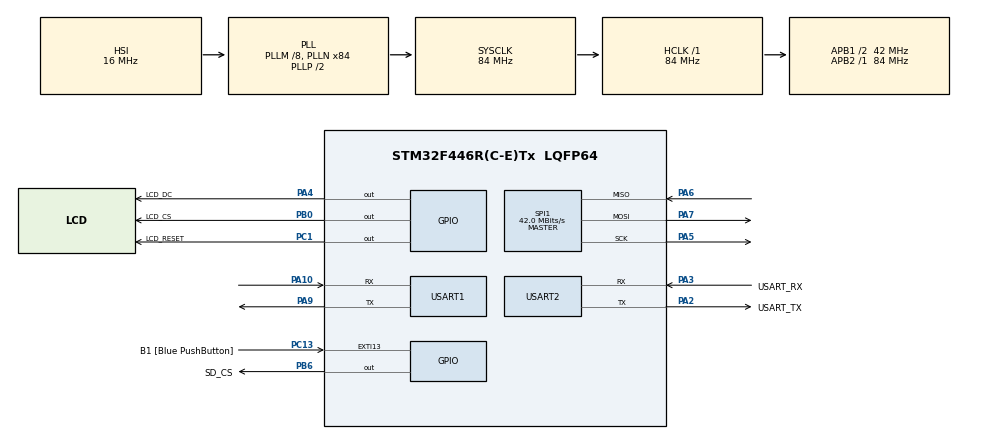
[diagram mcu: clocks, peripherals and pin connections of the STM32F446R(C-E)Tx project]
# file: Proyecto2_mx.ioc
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Mcu.Family=STM32F4
Mcu.Name=STM32F446R(C-E)Tx
Mcu.Package=LQFP64
NVIC.PriorityGroup=NVIC_PRIORITYGROUP_0
NVIC.TIM6_DAC_IRQn=true\:0\:0\:false\:false\:true\:true\:true\:true
NVIC.TIM7_IRQn=true\:0\:0\:false\:false\:true\:true\:true\:true
NVIC.USART1_IRQn=true\:0\:0\:false\:false\:true\:true\:true\:true
PA10.Mode=Asynchronous
PA10.Signal=USART1_RX
PA13.GPIO_Label=TMS
PA13.Mode=Serial_Wire
PA13.Signal=SYS_JTMS-SWDIO
PA14.GPIO_Label=TCK
PA14.Mode=Serial_Wire
PA14.Signal=SYS_JTCK-SWCLK
PA2.GPIO_Label=USART_TX
PA2.Mode=Asynchronous
PA2.Signal=USART2_TX
PA3.GPIO_Label=USART_RX
PA3.Mode=Asynchronous
PA3.Signal=USART2_RX
PA4.GPIO_Label=LCD_DC
PA4.GPIO_Speed=GPIO_SPEED_FREQ_MEDIUM
PA4.Signal=GPIO_Output
PA5.Mode=Full_Duplex_Master
PA5.Signal=SPI1_SCK
PA6.Mode=Full_Duplex_Master
PA6.Signal=SPI1_MISO
PA7.Mode=Full_Duplex_Master
PA7.Signal=SPI1_MOSI
PA9.Mode=Asynchronous
PA9.Signal=USART1_TX
PB0.GPIO_Label=LCD_CS
PB0.GPIO_Speed=GPIO_SPEED_FREQ_MEDIUM
PB0.Signal=GPIO_Output
PB6.GPIO_Label=SD_CS
PB6.GPIO_Speed=GPIO_SPEED_FREQ_MEDIUM
PB6.PinState=GPIO_PIN_SET
PB6.Signal=GPIO_Output
PC1.GPIO_Label=LCD_RESET
PC1.GPIO_Speed=GPIO_SPEED_FREQ_MEDIUM
PC1.Signal=GPIO_Output
PC13.GPIO_Label=B1 [Blue PushButton]
PC13.GPIO_ModeDefaultEXTI=GPIO_MODE_IT_FALLING
PC13.Signal=GPXTI13
PC14-OSC32_IN.Mode=LSE-External-Oscillator
PC14-OSC32_IN.Signal=RCC_OSC32_IN
PC15-OSC32_OUT.Mode=LSE-External-Oscillator
PC15-OSC32_OUT.Signal=RCC_OSC32_OUT
PH0-OSC_IN.Mode=HSE-External-Oscillator
PH0-OSC_IN.Signal=RCC_OSC_IN
PH1-OSC_OUT.Mode=HSE-External-Oscillator
PH1-OSC_OUT.Signal=RCC_OSC_OUT
ProjectManager.HeapSize=0x200
ProjectManager.StackSize=0x400
ProjectManager.TargetToolchain=STM32CubeIDE
RCC.48MHZClocksFreq_Value=84000000
RCC.AHBFreq_Value=84000000
RCC.APB1CLKDivider=RCC_HCLK_DIV2
RCC.APB1Freq_Value=42000000
RCC.APB1TimFreq_Value=84000000
RCC.APB2Freq_Value=84000000
RCC.APB2TimFreq_Value=84000000
RCC.CortexFreq_Value=84000000
RCC.FLatency-AdvancedSettings=FLASH_LATENCY_2
RCC.HCLKFreq_Value=84000000
RCC.HSE_VALUE=8000000
RCC.HSI_VALUE=16000000
RCC.PLLM=8
RCC.PLLN=84
RCC.SYSCLKFreq_VALUE=84000000
RCC.SYSCLKSource=RCC_SYSCLKSOURCE_PLLCLK
RCC.USBFreq_Value=84000000
RCC.VCOOutputFreq_Value=168000000
SPI1.BaudRatePrescaler=SPI_BAUDRATEPRESCALER_2
SPI1.CalculateBaudRate=42.0 MBits/s
SPI1.Direction=SPI_DIRECTION_2LINES
SPI1.Mode=SPI_MODE_MASTER
SPI1.VirtualType=VM_MASTER
TIM6.Period=6561-1
TIM6.Prescaler=16000-1
TIM7.Period=1640-1
TIM7.Prescaler=16000-1
USART1.VirtualMode=VM_ASYNC
USART2.VirtualMode=VM_ASYNC
VP_FATFS_VS_Generic.Mode=User_defined
VP_TIM6_VS_ClockSourceINT.Mode=Enable_Timer
VP_TIM7_VS_ClockSourceINT.Mode=Enable_Timer
board=NUCLEO-F446RE

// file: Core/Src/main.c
/* USER CODE BEGIN Header */
/**
  ******************************************************************************
  * @file           : main.c
  * @brief          : Main program body
  ******************************************************************************
  * @attention
  *
  * Copyright (c) 2026 STMicroelectronics.
  * All rights reserved.
  *
  * This software is licensed under terms that can be found in the LICENSE file
  * in the root directory of this software component.
  * If no LICENSE file comes with this software, it is provided AS-IS.
  *
  ******************************************************************************
  */
/* USER CODE END Header */
#include "main.h"
#include "fatfs.h"

/* USER CODE BEGIN Includes */
#include <stdio.h>
#include <string.h>

#include "ili9341.h"
#include "bitmaps.h"
#include "fatfs_sd.h"
/* USER CODE END Includes */

/* USER CODE BEGIN PD */
#define min_x 0			// Variables de pantalla
#define min_y 0
#define max_x 320
#define max_y 240

#define transparente 0xf81f // color de transparencia

#define MAX_BUFFER_SIZE 10080 // tamaño maximo de los buffers

FATFS fs;
FATFS *pfs;
FIL fil;
FRESULT fres;
DWORD free_clust;
uint32_t totalSpace, freeSpace;
char buffer[100];
/* USER CODE END PD */

SPI_HandleTypeDef hspi1;

TIM_HandleTypeDef htim6;
TIM_HandleTypeDef htim7;

UART_HandleTypeDef huart1;
UART_HandleTypeDef huart2;

/* USER CODE BEGIN PV */

static uint16_t buffer_p1[MAX_BUFFER_SIZE];  // buffers personajes
static uint16_t buffer_p2[MAX_BUFFER_SIZE];

static uint16_t erase_p1[MAX_BUFFER_SIZE];		// buffers objetos
static uint16_t erase_p2[MAX_BUFFER_SIZE];

//static uint16_t extra[MAX_BUFFER_SIZE];

static uint16_t buffer_dibujo_SD[10240]; // buffer para fondos

extern const uint16_t fondo[];

uint8_t continiun = 0;

volatile uint16_t pos_p1x = 0; // posisiones del jugador 1
volatile uint16_t pos_p1y = 0;
volatile uint16_t direc_p1 = 0;

volatile uint16_t pos_p2x = 0;  // posisiones jugador 2
volatile uint16_t pos_p2y = 0;
volatile uint16_t direc_p2 = 0;

uint8_t nano_rx; // buffer para leer y enviar datos por uart

volatile uint8_t menu_state = 0;
volatile uint8_t state = 0;  // 0 = Menu - 1 = jugando
volatile uint8_t current_game = 0;

volatile uint8_t p1_ch_select = 0;
volatile uint8_t p2_ch_select = 0;

uint8_t p1_ch = 0;
uint8_t p2_ch = 0;

volatile uint8_t draw_ok = 0;

volatile uint8_t p_press = 0;
volatile uint8_t p1_input;
volatile uint8_t rp_p1_chsel;

volatile uint8_t p2_input;
volatile uint8_t rp_p2_chsel;

uint8_t prev_input1 = 0;
uint8_t prev_input2 = 0;

volatile uint8_t game_select = 0;
volatile uint8_t rp_game_select = 0;
volatile uint8_t game_toplay = 0;

volatile uint8_t minijuego = 0;
volatile uint8_t prioridad = 0;

uint8_t segundos = 0;

uint8_t contador = 0;
uint8_t contador1_4 = 0;

char buffer_contador[10];
char buffer_contador1_4[10];

uint8_t p1_BAscore = 0;
uint8_t p2_BAscore = 0;

uint8_t pepino1 = 150;
uint8_t pepino2 = 150;

uint8_t movicanche = 1;

uint8_t p1_linea = 0;
uint8_t p2_linea = 0;

uint8_t juancarlos = 0;

/* USER CODE END PV */

void SystemClock_Config(void);
static void MX_GPIO_Init(void);
static void MX_USART2_UART_Init(void);
static void MX_SPI1_Init(void);
static void MX_USART1_UART_Init(void);
static void MX_TIM6_Init(void);
static void MX_TIM7_Init(void);

/* USER CODE BEGIN 0 */
void SPI_SetSpeed(uint32_t prescaler) {
    // 1. Apagar el SPI temporalmente
    __HAL_SPI_DISABLE(&hspi1);

    // 2. Limpiar los bits actuales de velocidad (BR[2:0])
    hspi1.Instance->CR1 &= ~(SPI_CR1_BR_Msk);

    // 3. Escribir el nuevo prescaler
    hspi1.Instance->CR1 |= prescaler;

    // 4. Volver a encender el SPI
    __HAL_SPI_ENABLE(&hspi1);
}

void transmit_uart(char *string) {
	uint8_t len = strlen(string);
	HAL_UART_Transmit(&huart2, (uint8_t*) string, len, 200);
}

void cargar_archivo(char* nombre_archivo, uint16_t* buffer_destino, uint32_t tamano_buffer) {
    UINT bytesRead;

    // 1. APAGAR EL TFT Y ENCENDER LA SD ANTES DE ABRIR EL ARCHIVO
	HAL_GPIO_WritePin(LCD_CS_GPIO_Port, LCD_CS_Pin, GPIO_PIN_SET);   // TFT OFF
	HAL_GPIO_WritePin(SD_CS_GPIO_Port, SD_CS_Pin, GPIO_PIN_RESET); // SD ON

    fres = f_open(&fil, nombre_archivo, FA_READ);

    if (fres != FR_OK) {
    	// Si falla, apagar la SD antes de salir
		HAL_GPIO_WritePin(SD_CS_GPIO_Port, SD_CS_Pin, GPIO_PIN_SET);
		transmit_uart("Error al abrir el archivo .bin\n");
		return;
    }

    // 3. LEER EL ARCHIVO DIRECTO AL BUFFER QUE TÚ ELIJAS
	// Aquí usamos los parámetros que le mandaste a la función
	fres = f_read(&fil, (uint8_t*)buffer_destino, tamano_buffer, &bytesRead);

	// 4. CERRAR ARCHIVO Y APAGAR SD
	f_close(&fil);
	HAL_GPIO_WritePin(SD_CS_GPIO_Port, SD_CS_Pin, GPIO_PIN_SET); // SD OFF

	// 5. VALIDACIÓN Y DIAGNÓSTICO
	if (fres != FR_OK || bytesRead == 0) {
		transmit_uart("Error al leer los datos o el archivo estaba vacio\n");
		return;
	}

    transmit_uart("Imagen cargada en el buffer con exito\n");
}

void dibujar_imagen_raw(char* nombre_archivo, uint16_t x, uint16_t y, uint16_t ancho, uint16_t alto) {
    UINT bytesRead;
    uint16_t buffer_pixel[10240];
    char msg[60];
    uint8_t first = 1;

    // TFT OFF antes de tocar SD
    HAL_GPIO_WritePin(LCD_CS_GPIO_Port, LCD_CS_Pin, GPIO_PIN_SET);
    HAL_GPIO_WritePin(SD_CS_GPIO_Port,  SD_CS_Pin,  GPIO_PIN_SET);

    // Abrir archivo
    fres = f_open(&fil, nombre_archivo, FA_READ);
    if (fres != FR_OK) {
        sprintf(msg, "Error f_open: %d\n", fres);
        transmit_uart(msg);
        return;
    }
    transmit_uart("Archivo abierto OK\n");

    while (1) {
        // Leer bloque de SD (TFT OFF mientras FatFS usa el bus)
        HAL_GPIO_WritePin(LCD_CS_GPIO_Port, LCD_CS_Pin, GPIO_PIN_SET);
        HAL_Delay(1); // <-- Dale un respiro al bus antes de activar la SD
        HAL_GPIO_WritePin(SD_CS_GPIO_Port, SD_CS_Pin, GPIO_PIN_RESET); // SD ON

        FRESULT r = f_read(&fil, buffer_dibujo_SD, sizeof(buffer_dibujo_SD), &bytesRead);
        HAL_GPIO_WritePin(SD_CS_GPIO_Port, SD_CS_Pin, GPIO_PIN_SET); // SD OFF
        HAL_Delay(1); // <-- Retardo antes de activar el LCD
        HAL_GPIO_WritePin(LCD_CS_GPIO_Port, LCD_CS_Pin, GPIO_PIN_RESET); // LCD ON
        if (r != FR_OK || bytesRead == 0) {
            sprintf(msg, "f_read fin: r=%d bytes=%u\n", r, (unsigned)bytesRead);
            transmit_uart(msg);
            break;
        }

        // Enviar bloque al TFT (SD OFF)
        HAL_GPIO_WritePin(SD_CS_GPIO_Port, SD_CS_Pin, GPIO_PIN_SET);
        HAL_GPIO_WritePin(LCD_CS_GPIO_Port, LCD_CS_Pin, GPIO_PIN_RESET); // TFT ON

        if (first) {
            // Primer chunk: configurar ventana
            // SetWindows termina con CS=HIGH, hay que volver a bajarlo
            SetWindows(x, y, x + ancho - 1, y + alto - 1);
            HAL_GPIO_WritePin(LCD_CS_GPIO_Port, LCD_CS_Pin, GPIO_PIN_RESET);
            first = 0;
        } else {
            // Chunks siguientes: Write Memory Continue
            HAL_GPIO_WritePin(LCD_DC_GPIO_Port, LCD_DC_Pin, GPIO_PIN_RESET); // DC = CMD
            uint8_t cmd = 0x3C;
            HAL_SPI_Transmit(&hspi1, &cmd, 1, HAL_MAX_DELAY);
        }

        // Enviar pixeles
        HAL_GPIO_WritePin(LCD_DC_GPIO_Port, LCD_DC_Pin, GPIO_PIN_SET); // DC = DATA
        HAL_SPI_Transmit(&hspi1, (uint8_t*)buffer_dibujo_SD, bytesRead, HAL_MAX_DELAY);

        // TFT OFF al terminar chunk
        HAL_GPIO_WritePin(LCD_CS_GPIO_Port, LCD_CS_Pin, GPIO_PIN_SET);
    }

    HAL_GPIO_WritePin(LCD_CS_GPIO_Port, LCD_CS_Pin, GPIO_PIN_SET);
    HAL_GPIO_WritePin(SD_CS_GPIO_Port,  SD_CS_Pin,  GPIO_PIN_SET);
    f_close(&fil);
    transmit_uart("Imagen cargada con exito\n");
}
/* USER CODE END 0 */

int main(void)
{

  /* MCU Configuration--------------------------------------------------------*/

  /* Reset of all peripherals, Initializes the Flash interface and the Systick. */
-	HAL_Init();

  /* Configure the system clock */
  SystemClock_Config();

  /* Initialize all configured peripherals */
  MX_GPIO_Init();
  MX_USART2_UART_Init();
  MX_SPI1_Init();
  MX_USART1_UART_Init();
  MX_FATFS_Init();
  MX_TIM6_Init();
  MX_TIM7_Init();
  /* USER CODE BEGIN 2 */
  HAL_TIM_Base_Start_IT(&htim6);
  HAL_TIM_Base_Start_IT(&htim7);
  HAL_UART_Receive_IT(&huart1,  &nano_rx, 1);

  	/*
  	FillRect(0, 0, 319, 239, 0xFFFF);
  	FillRect(50, 60, 20, 20, 0xF800);
  	FillRect(70, 60, 20, 20, 0x07E0);
  	FillRect(90, 60, 20, 20, 0x001F);

  	LCD_Bitmap(0, 0, 320, 240, fondo);
  //	FillRect(0, 0, 319, 206, 0x421b);
  //

  	LCD_Print("Hola Mundo", 20, 100, 2, 0x001F, 0xCAB9);

  	//LCD_Sprite(int x, int y, int width, int height, unsigned char bitmap[],int columns, int index, char flip, char offset);
  	//LCD_Sprite(60,100,32,32,pesaSprite,4,3,0,1);

  	//LCD_Bitmap(unsigned int x, unsigned int y, unsigned int width, unsigned int height, unsigned char bitmap[]);
  	//LCD_Bitmap(0, 0, 320, 240, fondo);

  	for (int x = 0; x < 319; x++) {
  		LCD_Bitmap(x, 116, 15, 15, tile);
  		LCD_Bitmap(x, 68, 15, 15, tile);
  		LCD_Bitmap(x, 207, 15, 15, tile);
  		LCD_Bitmap(x, 223, 15, 15, tile);
  		x += 15;
  	}
	*/
  	//LCD_Bitmap(100, 100, 28, 31, yosh);

 ////////////////////////////////////////////////////
  	// SD STUFF/////
  	// 1. Desactivar
  	  HAL_GPIO_WritePin(LCD_CS_GPIO_Port, LCD_CS_Pin, GPIO_PIN_SET);
  	  HAL_GPIO_WritePin(SD_CS_GPIO_Port, SD_CS_Pin, GPIO_PIN_SET);

  	  // 2. Reset display
  	  HAL_GPIO_WritePin(LCD_CS_GPIO_Port, LCD_CS_Pin, GPIO_PIN_RESET);
  	  HAL_GPIO_WritePin(SD_CS_GPIO_Port, SD_CS_Pin, GPIO_PIN_SET);

  	  LCD_Init();
  	  LCD_Clear(0x00); // NEGRO

  	  // 5. Apagar TFT antes de usar SD
  	  HAL_GPIO_WritePin(LCD_CS_GPIO_Port, LCD_CS_Pin, GPIO_PIN_SET);
  	  HAL_GPIO_WritePin(SD_CS_GPIO_Port, SD_CS_Pin, GPIO_PIN_RESET);

  	  // 6. SD
  	  // 6. SD
	  fres = f_mount(&fs, "", 0);
	  if (fres == FR_OK) {
		  transmit_uart("SD montada y lista\n");

	  } else {
		  transmit_uart("Error SD\n");
	  }

  	HAL_Delay(100);

  	///////////////////////////////
  	// LCD stuff
  	SPI_SetSpeed(SPI_BAUDRATEPRESCALER_2);
  	transmit_uart("SPI configurado a Alta Velocidad\n");

	LCD_Clear(0x00);

  	/*FillRect(0, 0, max_x, max_y, 0xf81f);
  	FillRect(0, 0, max_x, max_y, 0x0000);

//  	LCD_Print("Hola Mundo", 20, 100, 2, 0x001F, 0xCAB9);

	LCD_Print("Mario", 20, 50, 2, 0xFFFF, 0x0000);
	LCD_Print("Party", 20, 100, 2, 0xFFFF, 0x0000);
	//LCD_Print(text, x, y, fontSize, color, background);

	LCD_Print("PRESIONA A PARA INICIAR", 20, 150, 1, 0x001F, 0x0000);*/

  	int anim_walk = (pos_p1x/10)%3;
  	int anim_temp = 0;
  	uint16_t capricho = 0;

  	uint8_t p1_ready = 0;
	uint8_t p2_ready = 0;

  /* USER CODE END 2 */

  /* Infinite loop */
  /* USER CODE BEGIN WHILE */
	while (1)
	{
		// ESTADO 0: SISTEMA DE MENÚS
		if (state == 0)
		{
			// Pantalla de Inicio
			if (menu_state == 0)
			{
				if (draw_ok == 0)
				{
					HAL_UART_Transmit(&huart1, "0", 1, 100);		// Se pone la música del menú principal
					SPI_SetSpeed(SPI_BAUDRATEPRESCALER_256);		// Se cambia la velocidad para hablar con la SD
					dibujar_imagen_raw("start_bg.bin", 0, 0, max_x, max_y); // Se dibuja el fondo de inicio
					SPI_SetSpeed(SPI_BAUDRATEPRESCALER_2);			// Se cambia la velocidad para hablar con la TFT
					draw_ok = 1;
				}

				// Se verifica input para avanzar a la selección de personajes
				if (p1_input == 'A')
				{
					draw_ok = 0;
					menu_state = 1;
					p1_input = 'I';
				}
			}

			// Pantalla de Selección de Personajes
			if (menu_state == 1)
			{
				if (draw_ok == 0)
				{
					p1_input = 'I';
					p2_input = 'I';
					p1_ready = 0;
					p2_ready = 0;

					SPI_SetSpeed(SPI_BAUDRATEPRESCALER_256);		// Se cambia la velocidad para hablar con la SD
					dibujar_imagen_raw("ch_s_bg.bin", 0, 0, max_x, max_y); // Se dibuja el fondo de selección
					SPI_SetSpeed(SPI_BAUDRATEPRESCALER_2);			// Se cambia la velocidad para hablar con la TFT

					LCD_Print("CONFIRM", 1, 1, 2, 0xFFFF, 0x0000);
					FillRect(84, 133, 20, 20, 0xf81f);
					FillRect(271, 61, 20, 20, 0xf81f);
					draw_ok = 1;
				}

				// Se verifican inputs de confirmación de personaje J1 y J2
				if (p1_input == 'A')
				{
					p1_ready = 1;
					menu_state = 2;
					draw_ok = 0;
					p1_input = 'I';
				}
				else if (p1_input == 'B')
				{
					draw_ok = 0;
					menu_state = 0;
					p1_input = 'I';
				}

				if (p2_input == 'A')
				{
					p2_ready = 1;
					p2_input = 'I';
				}

				// Se verifica si ambos están listos para avanzar
				if(p1_ready == 0 && p2_ready == 0)
				{
					menu_state = 2;
					draw_ok = 0;
				}
			}

			// Pantalla de Selección de Minijuegos
			if (menu_state == 2)
			{
				if (draw_ok == 0)
				{
					continiun = 0;
					game_toplay = 0;
					p1_input = 'I';
					p2_input = 'I';
					SPI_SetSpeed(SPI_BAUDRATEPRESCALER_256);		// Se cambia la velocidad para hablar con la SD
					dibujar_imagen_raw("mp_s_bg.bin", 0, 0, max_x, max_y); // Se dibuja el fondo del menú de minijuegos
					SPI_SetSpeed(SPI_BAUDRATEPRESCALER_2);			// Se cambia la velocidad para hablar con la TFT
					draw_ok = 1;
				}

				capricho = capricho + 1;
				if (capricho >= 256) capricho = 255;
				else if (capricho == 255)
				{
					// Se verifica input para mover selector de minijuego (Jugador 1)
					if (p1_input == 'L') {
						game_select = game_select + 1;
						if (game_select == 5) game_select = 0;
						p1_input = 'I';
					}
					else if (p1_input == 'R') {
						if (game_select == 0) game_select = 5;
						game_select = game_select - 1;
						p1_input = 'I';
					}

					// Se dibuja rectángulo borrador del selector
					if (game_select != rp_game_select)
					{
						Rect(129, 60, 63, 54, 0xffff);
						Rect(29, 108, 63, 54, 0xffff);
						Rect(93, 138, 63, 54, 0xffff);
						Rect(168, 138, 63, 54, 0xffff);
						Rect(232, 111, 63, 54, 0xffff);
					}

					rp_game_select = game_select;
					capricho = 0;
				}

				// Se dibuja posición actual del selector de minijuego
				if (game_select == 0) Rect(129, 60, 63, 54, 0xf81f);
				else if (game_select == 1) Rect(29, 108, 63, 54, 0xf81f);
				else if (game_select == 2) Rect(93, 138, 63, 54, 0xf81f);
				else if (game_select == 3) Rect(168, 138, 63, 54, 0xf81f);
				else if (game_select == 4) Rect(232, 111, 63, 54, 0xf81f);

				// Se verifica input para confirmar o cancelar minijuego
				if (p1_input == 'A')
				{
					draw_ok = 0;
					state = 1;
					game_toplay = game_select;
					p1_input = 'I';
				}
				else if (p1_input == 'B')
				{
					draw_ok = 0;
					menu_state = 0;
					p1_input = 'I';
				}
			}
		}

		// ESTADO 1: JUGANDO MINIJUEGOS
		else if (state == 1)
		{
			// Minijuego 0: Área de Pruebas
			if (game_toplay == 0)
			{
				continiun = 1;
				game_toplay = 1;
			}

			// Minijuego 1: Tronco (Mashing de Botón)
			else if (game_toplay == 1)
			{
				if (draw_ok == 0)
				{
					HAL_UART_Transmit(&huart1, "5", 1, 100);		// Se pone la música del minijuego 1
					SPI_SetSpeed(SPI_BAUDRATEPRESCALER_256);		// Se cambia la velocidad para hablar con la SD
					cargar_archivo("y_win.bin", buffer_p1, 3640);
					cargar_archivo("h_win.bin", buffer_p2, 4620);
					cargar_archivo("stu_on.bin", erase_p1, 14560);
					cargar_archivo("stu2_on.bin", erase_p2, 14560);
					dibujar_imagen_raw("stump_bg.bin", 0, 0, max_x, max_y); // Se dibuja el fondo del minijuego 1
					SPI_SetSpeed(SPI_BAUDRATEPRESCALER_2);			// Se cambia la velocidad para hablar con la TFT
					draw_ok = 1;
				}

				LCD_Print("PRESS BEFORE", 1, 1, 2, 0xFFFF, 0x0000);

				// Se verifica input para iniciar minijuego
				if (p1_input == 'A')
				{
					draw_ok = 0;
					int PB_marker1 = 0;
					int PB_marker2 = 0;
					p1_input = 'I';
					contador = 6;

					LCD_Sprite(60, 90, 26, 35, buffer_p1, 2, 0, 1, 0, 0xf81f, erase_p1, 96, 31, 86, 0);			// Se dibuja sprite actual J1
					LCD_Sprite(120, 87, 33, 35, buffer_p2, 2, 0, 1, 0, 0xf81f, erase_p2, 96, 186, 85, 0);		// Se dibuja sprite actual J2

					// Se inicia animación de cuenta regresiva
					while(contador != 0)
					{
						sprintf(buffer_contador, "%d", contador);
						LCD_Print(buffer_contador, 50, 170, 2, 0xFFFF, 0x0000);
					}

					for (int i = 0; i < 4; i++)
					{
						LCD_Print("ESPERA", 40, 190, 2, 0xFFFF, 0x0000);
						contador = i + 2;
						while(contador != 0){}

						prioridad = 0;
						LCD_Print("PRESSS", 40, 190, 2, 0xFFFF, 0x630c);

						// Se verifican inputs de Mashing de botones J1 y J2
						while (p1_input != 'A' && p2_input != 'A') {}

						// Se inicia animación de golpe ganador
						if (prioridad == 1)
						{
							contador = 5;
							while(contador != 0)
							{
								PB_marker1 ++;
								anim_temp = contador;
								LCD_Print("JGD #1", 40, 190, 2, 0xFFFF, 0x0000);
								LCD_Sprite(60, 90, 26, 35, buffer_p1, 2, 1, 1, 0, 0xf81f, erase_p1, 96, 31, 86, 0); // Se dibuja sprite actual J1
							}
						}
						else if (prioridad == 2)
						{
							contador = 5;
							while(contador != 0)
							{
								PB_marker2 ++;
								anim_temp = contador;
								LCD_Print("JGD #2", 40, 190, 2, 0xFFFF, 0x0000);
								LCD_Sprite(120, 87, 33, 35, buffer_p2, 2, 1, 1, 0, 0xf81f, erase_p2, 96, 186, 85, 0); // Se dibuja sprite actual J2
							}
						}

						p1_input = 'I';
						p2_input = 'I';
					}

					SPI_SetSpeed(SPI_BAUDRATEPRESCALER_256);		// Se cambia la velocidad para hablar con la SD
					cargar_archivo("u_win.bin", buffer_p1, 14560);
					SPI_SetSpeed(SPI_BAUDRATEPRESCALER_2);			// Se cambia la velocidad para hablar con la TFT

					HAL_UART_Transmit(&huart1, "6", 1, 100);		// Se pone la música de victoria
					LCD_Sprite(65, 80, 182, 40, buffer_p1, 1, 0, 0, 0, 0xf81f, erase_p1, 96, 186, 85, 0);			// Se dibuja sprite actual de texto ganador

					if (PB_marker1 >= PB_marker2) LCD_Print("Jugador 1", 50, 170, 2, 0xFFFF, 0x0000);
					else LCD_Print("Jugador 2", 50, 170, 2, 0xFFFF, 0x0000);

					p1_input = 'I';
					p2_input = 'I';
					LCD_Print("END OF GAME", 40, 190, 2, 0xFFFF, 0x0000);

					contador = 5;
					while(contador != 0){}

					if (continiun == 1) game_toplay = 2;
					else { state = 0; menu_state = 2; }
				}
			}

			// Minijuego 2: Acantilado (A+B War)
			else if (game_toplay == 2)
			{
				if (draw_ok == 0)
				{
					HAL_UART_Transmit(&huart1, "4", 1, 100);		// Se pone la música del minijuego 2
					SPI_SetSpeed(SPI_BAUDRATEPRESCALER_256);		// Se cambia la velocidad para hablar con la SD
					dibujar_imagen_raw("cliff_bg.bin", 0, 0, max_x, max_y); // Se dibuja el fondo del minijuego 2
					cargar_archivo("y_bot.bin", buffer_p1, 4352);
					cargar_archivo("h_btn.bin", buffer_p2, 4488);
					cargar_archivo("cli_on.bin", erase_p1, 15960);
					SPI_SetSpeed(SPI_BAUDRATEPRESCALER_2);			// Se cambia la velocidad para hablar con la TFT
					draw_ok = 1;
				}

				LCD_Print("AB WAR", 1, 1, 2, 0xFFFF, 0x0000);

				// Se verifica input para iniciar minijuego
				if (p1_input == 'A')
				{
					draw_ok = 0;
					p1_input = 'I';
					contador = 6;

					// Se inicia animación de cuenta regresiva
					while(contador != 0)
					{
						sprintf(buffer_contador, "%d", contador);
						LCD_Print(buffer_contador, 250, 15, 2, 0xFFFF, 0x0000);
					}
					contador = 10;

					// Se inicia animación de forcejeo entre jugadores
					while(contador != 0)
					{
						contador1_4 = 4;
						juancarlos = 1;
						anim_temp = (contador/4)%2;
						LCD_Sprite(75, 87, 32, 34, buffer_p1, 2, anim_temp, 1, 0, 0xf81f, erase_p1, 76, 63, 68, 0); // Se dibuja sprite actual J1

						anim_temp = (contador/4)%3;
						LCD_Sprite(120, 87, 22, 34, buffer_p2, 3, anim_temp, 1, 0, 0xf81f, erase_p1, 76, 63, 68, 0); // Se dibuja sprite actual J2

						// Se verifican inputs de mashing de botones J1 y J2
						if(p1_input == 'A' || p1_input == 'B') {
							if (prev_input1 != p1_input) p1_BAscore++;
							prev_input1 = p1_input;
						}
						if(p2_input == 'A' || p2_input == 'B') {
							if (prev_input2 != p2_input) p2_BAscore++;
							prev_input2 = p2_input;
						}
					}

					juancarlos = 0;

					SPI_SetSpeed(SPI_BAUDRATEPRESCALER_256);		// Se cambia la velocidad para hablar con la SD
					cargar_archivo("shy_fly.bin", buffer_p1, 12096);
					cargar_archivo("shy_fall.bin", buffer_p2, 3456);
					cargar_archivo("cli2_on.bin", erase_p1, 17980);
					cargar_archivo("fly_on.bin", erase_p2, 19200);
					SPI_SetSpeed(SPI_BAUDRATEPRESCALER_2);			// Se cambia la velocidad para hablar con la TFT

					uint8_t shy_mov1 = 0;
					uint8_t shy_mov2 = 0;

					SPI_SetSpeed(SPI_BAUDRATEPRESCALER_256);		// Se cambia la velocidad para hablar con la SD
					dibujar_imagen_raw("fly_bg.bin", 0, 0, max_x, max_y); // Se dibuja fondo de caída libre
					SPI_SetSpeed(SPI_BAUDRATEPRESCALER_2);			// Se cambia la velocidad para hablar con la TFT

					contador = 4;

					// Se inicia animación de caída libre y vuelo
					while(contador != 0)
					{
						shy_mov1 = 90 + contador*2;
						shy_mov2 = 90 + contador*2;
						anim_temp = contador;

						LCD_Sprite(110, shy_mov1, 36, 42, buffer_p1, 4, anim_temp, 1, 0, 0xf81f, erase_p2, 80, 100, 80, 0); // Se dibuja sprite actual vuelo
						LCD_Sprite(170, shy_mov2, 36, 42, buffer_p1, 4, anim_temp, 1, 0, 0xf81f, erase_p2, 80, 100, 80, 0); // Se dibuja sprite actual vuelo
					}

					LCD_Sprite(170, shy_mov2, 32, 42, buffer_p2, 1, 0, 1, 0, 0xf81f, erase_p2, 80, 100, 80, 0 );			// Se dibuja sprite actual caída

					contador = 2;
					while(contador != 0) {}

					SPI_SetSpeed(SPI_BAUDRATEPRESCALER_256);		// Se cambia la velocidad para hablar con la SD
					cargar_archivo("u_win.bin", buffer_p1, 14560);
					SPI_SetSpeed(SPI_BAUDRATEPRESCALER_2);			// Se cambia la velocidad para hablar con la TFT

					HAL_UART_Transmit(&huart2, "6. Winner\r\n", 1, 100); // Se pone la música de victoria
					LCD_Sprite(65, 80, 182, 40, buffer_p1, 1, 0, 0, 0, 0xf81f, erase_p2, 80, 0, 0, 0);						// Se dibuja sprite actual texto ganador

					if (p1_BAscore >= p2_BAscore) LCD_Print("Jugador 1", 75, 125, 2, 0xFFFF, 0x0000);
					else LCD_Print("Jugador 2", 75, 125, 2, 0xFFFF, 0x0000);

					p1_input = 'I';
					p2_input = 'I';
					LCD_Print("END OF GAME", 75, 200, 2, 0xFFFF, 0x0000);

					contador = 5;
					while(contador != 0){}
					if (continiun == 1) game_toplay = 3;
					else { state = 0; menu_state = 2; }
				}
			}

			// Minijuego 3: Pepino Cutter
			else if (game_toplay == 3)
			{
				if (draw_ok == 0)
				{
					HAL_UART_Transmit(&huart1, "2", 1, 100);		// Se pone la música del minijuego 3
					SPI_SetSpeed(SPI_BAUDRATEPRESCALER_256);		// Se cambia la velocidad para hablar con la SD
					dibujar_imagen_raw("kit_bg.bin", 0, 0, max_x, max_y); // Se dibuja fondo de cocina
					SPI_SetSpeed(SPI_BAUDRATEPRESCALER_2);			// Se cambia la velocidad para hablar con la TFT
					draw_ok = 1;
					pepino1 = 150;
					pepino2 = 150;
				}

				LCD_Print("PEPINO CUTTER", 1, 1, 2, 0xFFFF, 0x0000);

				// Se verifica input para iniciar minijuego
				if (p1_input == 'A')
				{
					FillRect(0, 0, max_x, max_y, 0xfea0);

					SPI_SetSpeed(SPI_BAUDRATEPRESCALER_256);		// Se cambia la velocidad para hablar con la SD
					cargar_archivo("y_walk.bin", buffer_p1, 6120);
					cargar_archivo("h_walk.bin", buffer_p2, 5760);
					cargar_archivo("pepino.bin", erase_p1, 5440);
					SPI_SetSpeed(SPI_BAUDRATEPRESCALER_2);			// Se cambia la velocidad para hablar con la TFT

					LCD_Sprite_simple(230, 50, 85, 32, erase_p1, 1, 0, 0, 0, 0xf81f, 0xfea0);		// Se dibuja sprite actual pepino J1
					LCD_Sprite_simple(230, 158, 85, 32, erase_p1, 1, 0, 0, 0, 0xf81f, 0xfea0);		// Se dibuja sprite actual pepino J2

					draw_ok = 0;
					p1_input = 'I';
					contador = 6;

					// Se inicia animación de cuenta regresiva
					while(contador != 0)
					{
						sprintf(buffer_contador, "%d", contador);
						LCD_Print(buffer_contador, 12, 95, 2, 0xFFFF, 0x0000);
					}

					// Se inicia animación de corte de pepino por turnos
					while(pepino1 != 0 && pepino2 != 0)
					{
						pos_p1x = 285 - pepino1;
						pos_p2x = 285 - pepino2;

						LCD_Sprite_simple(pos_p1x, 50, 30, 34, buffer_p1, 3, (pos_p1x/10)%3, 1, 0, 0xf81f, 0xfea0);		// Se dibuja sprite actual J1 cortando
						LCD_Sprite_simple(pos_p2x, 158, 20, 36, buffer_p2, 4, (pos_p2x/10)%4, 0, 0, 0xf81f, 0xfea0);	// Se dibuja sprite actual J2 cortando

						// Se verifican inputs de corte rápido J1
						if(p1_input == 'R' || p1_input == 'L' || p1_input == 'D' || p1_input == 'U') {
							if (prev_input1 != p1_input) pepino1--;
							prev_input1 = p1_input;
						}
						// Se verifican inputs de corte rápido J2
						if(p2_input == 'R' || p2_input == 'L' || p2_input == 'D' || p2_input == 'U') {
							if (prev_input2 != p2_input) pepino2--;
							prev_input2 = p2_input;
						}
					}

					SPI_SetSpeed(SPI_BAUDRATEPRESCALER_256);		// Se cambia la velocidad para hablar con la SD
					cargar_archivo("y_win.bin", buffer_p1, 3640);
					cargar_archivo("h_win.bin", buffer_p2, 4620);
					cargar_archivo("u_win.bin", erase_p1, 14560);
					SPI_SetSpeed(SPI_BAUDRATEPRESCALER_2);			// Se cambia la velocidad para hablar con la TFT

					HAL_UART_Transmit(&huart2, "6", 1, 100);		// Se pone la música de victoria
					LCD_Sprite_simple(10, 70,  182, 40, erase_p1, 1, 0, 0, 0, 0xf81f, 0xfea0);				// Se dibuja sprite actual texto ganador

					// Se inicia animación de ganador del pepino
					if (pepino1 == 0)
					{
						LCD_Print("Jugador 1", 40, 180, 2, 0xFFFF, 0x0000);
						contador = 4;
						while(contador != 0)
						{
							anim_temp = contador/2;
							LCD_Sprite_simple(pos_p1x - 5, 50, 26, 32, buffer_p1, 2, anim_temp, 1, 0, 0xf81f, 0xfea0); // Se dibuja sprite actual celebración J1
						}
					}
					else
					{
						LCD_Print("Jugador 2", 40, 180, 2, 0xFFFF, 0x0000);
						contador = 4;
						while(contador != 0)
						{
							anim_temp = contador/2;
							LCD_Sprite_simple(pos_p2x - 5, 158, 33, 35, buffer_p2, 2, anim_temp, 1, 0, 0xf81f, 0xfea0); // Se dibuja sprite actual celebración J2
						}
					}

					p1_input = 'I';
					p2_input = 'I';
					LCD_Print("END OF GAME", 40, 200, 2, 0xFFFF, 0x0000);

					contador = 5;
					while(contador != 0){}

					if (continiun == 1) game_toplay = 4;
					else { state = 0; menu_state = 2; }
				}
			}

			// Minijuego 4: Follow The Line (Draw)
			else if (game_toplay == 4)
			{
				if (draw_ok == 0)
				{
					HAL_UART_Transmit(&huart1, "1", 1, 100);		// Se pone la música del minijuego 4
					SPI_SetSpeed(SPI_BAUDRATEPRESCALER_256);		// Se cambia la velocidad para hablar con la SD
					cargar_archivo("y_walk.bin", buffer_p1, 6120);
					cargar_archivo("h_walk.bin", buffer_p2, 5760);
					cargar_archivo("lapiz.bin", erase_p1, 351);
					SPI_SetSpeed(SPI_BAUDRATEPRESCALER_2);			// Se cambia la velocidad para hablar con la TFT

					LCD_Bitmap(0, 0, max_x, max_y, fondo);			// Se dibuja fondo de trazo
					draw_ok = 1;
					pos_p2y = 170;
				}

				LCD_Print("DRAW", 100, 90, 2, 0xFFFF, 0x0000);
				LCD_Print("(u could follow the line)", 90, 120, 1, 0xFFFF, 0x0000);

				// Se verifica input para iniciar minijuego
				if (p1_input == 'A')
				{
					draw_ok = 0;
					p1_input = 'I';

					contador = 6;
					// Se inicia animación de cuenta regresiva
					while(contador != 0)
					{
						sprintf(buffer_contador, "%d", contador);
						LCD_Print(buffer_contador, 12, 95, 2, 0xFFFF, 0x0000);
					}

					int conteo1 = 0;
					int conteo2 = 0;

					pos_p1x = 17;
					pos_p1y = 31;
					pos_p2x = 17;
					pos_p2y = 170;
					movicanche = 1;
					contador = 22;

					// Se inicia animación de avance dibujando la línea
					while(contador != 0)
					{
						LCD_Sprite_unmodified(pos_p1x, pos_p1y, 30, 34, buffer_p1, 3, anim_walk, 1, 0, 0xf81f, fondo);		// Se dibuja sprite actual J1 dibujando
						LCD_Sprite_unmodified(pos_p1x - 9, pos_p1y, 9, 39, erase_p1, 1, 0, 0, 0, 0xf81f, fondo);			// Se dibuja sprite actual lápiz J1

						LCD_Sprite_unmodified(pos_p2x, pos_p2y, 20, 36, buffer_p2, 4, anim_walk, 0, 0, 0xf81f, fondo);		// Se dibuja sprite actual J2 dibujando
						LCD_Sprite_unmodified(pos_p2x - 9, pos_p2y, 9, 39, erase_p1, 1, 0, 0, 0, 0xf81f, fondo);			// Se dibuja sprite actual lápiz J2

						// Se verifica input Jugador 1 para subir y bajar
						if (p1_input == 'D') {
							if (pos_p1y <= 80 - 31) pos_p1y = pos_p1y+2;
							p1_input = 'I';
							anim_walk = (pos_p1y/10)%3;
						}
						else if (p1_input == 'U') {
							if (pos_p1y > min_y+10) pos_p1y = pos_p1y-2;
							p1_input = 'I';
							anim_walk = (pos_p1y/10)%3;
						}

						// Se verifica input Jugador 2 para subir y bajar
						if (p2_input == 'D') {
							if (pos_p2y <= max_y - 40) pos_p2y = pos_p2y+2;
							p2_input = 'I';
							anim_walk = (pos_p2y/10)%3;
						}
						else if (p2_input == 'U') {
							if (pos_p2y > 150) pos_p2y = pos_p2y-2;
							p2_input = 'I';
							anim_walk = (pos_p2y/10)%3;
						}

						// Se verifica acierto de puntos en x predeterminados
						if (pos_p1x == 16 || pos_p1x == 40 || pos_p1x == 64 || pos_p1x == 88 ||
							pos_p1x == 112 || pos_p1x == 136 || pos_p1x == 160 || pos_p1x == 184 ||
							pos_p1x == 208 || pos_p1x == 232 || pos_p1x == 256 || pos_p1x == 280)
						{
						    conteo1 = conteo1 + pos_p1y;
						    conteo2 = conteo2 + pos_p2y;
						}
					}

					movicanche = 0;
					p1_linea = (46.25)-(conteo1/12);
					p2_linea = (190.25)-(conteo2/12);

					SPI_SetSpeed(SPI_BAUDRATEPRESCALER_256);		// Se cambia la velocidad para hablar con la SD
					cargar_archivo("y_win.bin", buffer_p1, 3640);
					cargar_archivo("h_win.bin", buffer_p2, 4620);
					cargar_archivo("u_win.bin", erase_p1, 14560);
					SPI_SetSpeed(SPI_BAUDRATEPRESCALER_2);			// Se cambia la velocidad para hablar con la TFT

					HAL_UART_Transmit(&huart2, "6. Winner\r\n", 1, 100); // Se pone la música de victoria
					LCD_Sprite_unmodified(10, 70,  182, 40, erase_p1, 1, 0, 0, 0, 0xf81f, fondo); // Se dibuja sprite actual texto ganador

					// Se inicia animación de victoria final
					if (p1_linea >= p2_linea)
					{
						LCD_Print("Jugador 1", 40, 180, 2, 0xFFFF, 0x0000);
						contador = 5;
						while(contador != 0)
						{
							anim_temp = contador;
							LCD_Sprite_unmodified(pos_p1x, pos_p1y, 30, 34, buffer_p1, 3, anim_temp, 1, 0, 0xf81f, fondo); // Se dibuja sprite actual celebración J1
							LCD_Print("END OF GAME", 40, 200, 2, 0xFFFF, 0x0000);
						}
					}
					else
					{
						LCD_Print("Jugador 2", 40, 180, 2, 0xFFFF, 0x0000);
						contador = 5;
						while(contador != 0)
						{
							anim_temp = contador;
							LCD_Sprite_unmodified(pos_p2x, pos_p2y, 20, 36, buffer_p2, 4, anim_temp, 0, 0, 0xf81f, fondo); // Se dibuja sprite actual celebración J2
							LCD_Print("END OF GAME", 40, 200, 2, 0xFFFF, 0x0000);
						}
					}

					p1_input = 'I';
					p2_input = 'I';
					state = 0;
					menu_state = 2;
				}
			}
		}
	}

	//V_line( x -1, 100, 30, 0xf81f);

	/*
	for (int var = 0; var < max_y -28;  var++) {
			int anim = (var / 10) % 3;
			LCD_Sprite(150, var, 28, 31, yoshi_walk, 3, anim, 1, 0);
			//V_line(var + 24, 100, 30, 0xf81f);
			HAL_Delay(15);
			}*/

    /* USER CODE END WHILE */

void SystemClock_Config(void)
{
  RCC_OscInitTypeDef RCC_OscInitStruct = {0};
  RCC_ClkInitTypeDef RCC_ClkInitStruct = {0};

  /** Configure the main internal regulator output voltage
  */
  __HAL_RCC_PWR_CLK_ENABLE();
  __HAL_PWR_VOLTAGESCALING_CONFIG(PWR_REGULATOR_VOLTAGE_SCALE3);

  /** Initializes the RCC Oscillators according to the specified parameters
  * in the RCC_OscInitTypeDef structure.
  */
  RCC_OscInitStruct.OscillatorType = RCC_OSCILLATORTYPE_HSI;
  RCC_OscInitStruct.HSIState = RCC_HSI_ON;
  RCC_OscInitStruct.HSICalibrationValue = RCC_HSICALIBRATION_DEFAULT;
  RCC_OscInitStruct.PLL.PLLState = RCC_PLL_ON;
  RCC_OscInitStruct.PLL.PLLSource = RCC_PLLSOURCE_HSI;
  RCC_OscInitStruct.PLL.PLLM = 8;
  RCC_OscInitStruct.PLL.PLLN = 84;
  RCC_OscInitStruct.PLL.PLLP = RCC_PLLP_DIV2;
  RCC_OscInitStruct.PLL.PLLQ = 2;
  RCC_OscInitStruct.PLL.PLLR = 2;
  if (HAL_RCC_OscConfig(&RCC_OscInitStruct) != HAL_OK)
  {
    Error_Handler();
  }

  /** Initializes the CPU, AHB and APB buses clocks
  */
  RCC_ClkInitStruct.ClockType = RCC_CLOCKTYPE_HCLK|RCC_CLOCKTYPE_SYSCLK
                              |RCC_CLOCKTYPE_PCLK1|RCC_CLOCKTYPE_PCLK2;
  RCC_ClkInitStruct.SYSCLKSource = RCC_SYSCLKSOURCE_PLLCLK;
  RCC_ClkInitStruct.AHBCLKDivider = RCC_SYSCLK_DIV1;
  RCC_ClkInitStruct.APB1CLKDivider = RCC_HCLK_DIV2;
  RCC_ClkInitStruct.APB2CLKDivider = RCC_HCLK_DIV1;

  if (HAL_RCC_ClockConfig(&RCC_ClkInitStruct, FLASH_LATENCY_2) != HAL_OK)
  {
    Error_Handler();
  }
}

static void MX_SPI1_Init(void)
{

  /* SPI1 parameter configuration*/
  hspi1.Instance = SPI1;
  hspi1.Init.Mode = SPI_MODE_MASTER;
  hspi1.Init.Direction = SPI_DIRECTION_2LINES;
  hspi1.Init.DataSize = SPI_DATASIZE_8BIT;
  hspi1.Init.CLKPolarity = SPI_POLARITY_LOW;
  hspi1.Init.CLKPhase = SPI_PHASE_1EDGE;
  hspi1.Init.NSS = SPI_NSS_SOFT;
  hspi1.Init.BaudRatePrescaler = SPI_BAUDRATEPRESCALER_2;
  hspi1.Init.FirstBit = SPI_FIRSTBIT_MSB;
  hspi1.Init.TIMode = SPI_TIMODE_DISABLE;
  hspi1.Init.CRCCalculation = SPI_CRCCALCULATION_DISABLE;
  hspi1.Init.CRCPolynomial = 10;
  if (HAL_SPI_Init(&hspi1) != HAL_OK)
  {
    Error_Handler();
  }

}

static void MX_TIM6_Init(void)
{

  TIM_MasterConfigTypeDef sMasterConfig = {0};

  htim6.Instance = TIM6;
  htim6.Init.Prescaler = 16000-1;
  htim6.Init.CounterMode = TIM_COUNTERMODE_UP;
  htim6.Init.Period = 6561-1;
  htim6.Init.AutoReloadPreload = TIM_AUTORELOAD_PRELOAD_DISABLE;
  if (HAL_TIM_Base_Init(&htim6) != HAL_OK)
  {
    Error_Handler();
  }
  sMasterConfig.MasterOutputTrigger = TIM_TRGO_RESET;
  sMasterConfig.MasterSlaveMode = TIM_MASTERSLAVEMODE_DISABLE;
  if (HAL_TIMEx_MasterConfigSynchronization(&htim6, &sMasterConfig) != HAL_OK)
  {
    Error_Handler();
  }

}

static void MX_TIM7_Init(void)
{

  TIM_MasterConfigTypeDef sMasterConfig = {0};

  htim7.Instance = TIM7;
  htim7.Init.Prescaler = 16000-1;
  htim7.Init.CounterMode = TIM_COUNTERMODE_UP;
  htim7.Init.Period = 1640-1;
  htim7.Init.AutoReloadPreload = TIM_AUTORELOAD_PRELOAD_DISABLE;
  if (HAL_TIM_Base_Init(&htim7) != HAL_OK)
  {
    Error_Handler();
  }
  sMasterConfig.MasterOutputTrigger = TIM_TRGO_RESET;
  sMasterConfig.MasterSlaveMode = TIM_MASTERSLAVEMODE_DISABLE;
  if (HAL_TIMEx_MasterConfigSynchronization(&htim7, &sMasterConfig) != HAL_OK)
  {
    Error_Handler();
  }

}

static void MX_USART1_UART_Init(void)
{

  huart1.Instance = USART1;
  huart1.Init.BaudRate = 115200;
  huart1.Init.WordLength = UART_WORDLENGTH_8B;
  huart1.Init.StopBits = UART_STOPBITS_1;
  huart1.Init.Parity = UART_PARITY_NONE;
  huart1.Init.Mode = UART_MODE_TX_RX;
  huart1.Init.HwFlowCtl = UART_HWCONTROL_NONE;
  huart1.Init.OverSampling = UART_OVERSAMPLING_16;
  if (HAL_UART_Init(&huart1) != HAL_OK)
  {
    Error_Handler();
  }

}

static void MX_USART2_UART_Init(void)
{

  huart2.Instance = USART2;
  huart2.Init.BaudRate = 115200;
  huart2.Init.WordLength = UART_WORDLENGTH_8B;
  huart2.Init.StopBits = UART_STOPBITS_1;
  huart2.Init.Parity = UART_PARITY_NONE;
  huart2.Init.Mode = UART_MODE_TX_RX;
  huart2.Init.HwFlowCtl = UART_HWCONTROL_NONE;
  huart2.Init.OverSampling = UART_OVERSAMPLING_16;
  if (HAL_UART_Init(&huart2) != HAL_OK)
  {
    Error_Handler();
  }

}

static void MX_GPIO_Init(void)
{
  GPIO_InitTypeDef GPIO_InitStruct = {0};

  /* GPIO Ports Clock Enable */
  __HAL_RCC_GPIOC_CLK_ENABLE();
  __HAL_RCC_GPIOH_CLK_ENABLE();
  __HAL_RCC_GPIOA_CLK_ENABLE();
  __HAL_RCC_GPIOB_CLK_ENABLE();

  /*Configure GPIO pin Output Level */
  HAL_GPIO_WritePin(LCD_RESET_GPIO_Port, LCD_RESET_Pin, GPIO_PIN_RESET);

  /*Configure GPIO pin Output Level */
  HAL_GPIO_WritePin(LCD_DC_GPIO_Port, LCD_DC_Pin, GPIO_PIN_RESET);

  /*Configure GPIO pin Output Level */
  HAL_GPIO_WritePin(LCD_CS_GPIO_Port, LCD_CS_Pin, GPIO_PIN_RESET);

  /*Configure GPIO pin Output Level */
  HAL_GPIO_WritePin(SD_CS_GPIO_Port, SD_CS_Pin, GPIO_PIN_SET);

  /*Configure GPIO pin : B1_Pin */
  GPIO_InitStruct.Pin = B1_Pin;
  GPIO_InitStruct.Mode = GPIO_MODE_IT_FALLING;
  GPIO_InitStruct.Pull = GPIO_NOPULL;
  HAL_GPIO_Init(B1_GPIO_Port, &GPIO_InitStruct);

  /*Configure GPIO pin : LCD_RESET_Pin */
  GPIO_InitStruct.Pin = LCD_RESET_Pin;
  GPIO_InitStruct.Mode = GPIO_MODE_OUTPUT_PP;
  GPIO_InitStruct.Pull = GPIO_NOPULL;
  GPIO_InitStruct.Speed = GPIO_SPEED_FREQ_MEDIUM;
  HAL_GPIO_Init(LCD_RESET_GPIO_Port, &GPIO_InitStruct);

  /*Configure GPIO pin : LCD_DC_Pin */
  GPIO_InitStruct.Pin = LCD_DC_Pin;
  GPIO_InitStruct.Mode = GPIO_MODE_OUTPUT_PP;
  GPIO_InitStruct.Pull = GPIO_NOPULL;
  GPIO_InitStruct.Speed = GPIO_SPEED_FREQ_MEDIUM;
  HAL_GPIO_Init(LCD_DC_GPIO_Port, &GPIO_InitStruct);

  /*Configure GPIO pins : LCD_CS_Pin SD_CS_Pin */
  GPIO_InitStruct.Pin = LCD_CS_Pin|SD_CS_Pin;
  GPIO_InitStruct.Mode = GPIO_MODE_OUTPUT_PP;
  GPIO_InitStruct.Pull = GPIO_NOPULL;
  GPIO_InitStruct.Speed = GPIO_SPEED_FREQ_MEDIUM;
  HAL_GPIO_Init(GPIOB, &GPIO_InitStruct);

}

/* USER CODE BEGIN 4 */
void HAL_UART_RxCpltCallback(UART_HandleTypeDef *huart)
{
    if(huart == &huart1)
    {
    	//HAL_UART_Transmit(&huart2, (uint8_t*)nano_rx, strlen(left), 1000);
    	HAL_UART_Transmit(&huart2, &nano_rx, 1, 100);
        HAL_UART_Receive_IT(&huart1, &nano_rx, 1);

        if (p_press == 1)
		{
			p1_input = nano_rx;
			p_press = 0;
		}
		else if (p_press == 2)
		{
			p2_input = nano_rx;
			p_press = 0;
		}

        if (nano_rx == '1')
        {
			p_press = 1;
			if (prioridad == 0)
			{
				prioridad = 1;
			}
        }
        else if (nano_rx == '2')
        {
        	p_press = 2;
        	if (prioridad == 0)
			{
				prioridad = 2;
			}
        }

    }
}

void HAL_TIM_PeriodElapsedCallback(TIM_HandleTypeDef *htim)
{
	if(htim == &htim6)
	{
		if (contador != 0)
		{
			contador--;
		}
		HAL_TIM_Base_Start_IT(&htim6);
	}
	if(htim == &htim7)
	{
		if (movicanche == 1)
		{
			pos_p1x = pos_p1x + 3;
			pos_p2x = pos_p2x + 3;
		}

		if (juancarlos == 1)
		{
			contador1_4 --;

		}
		HAL_TIM_Base_Start_IT(&htim7);
	}
}
/* USER CODE END 4 */

void Error_Handler(void)
{
  __disable_irq();
  while (1)
  {
  }
}
